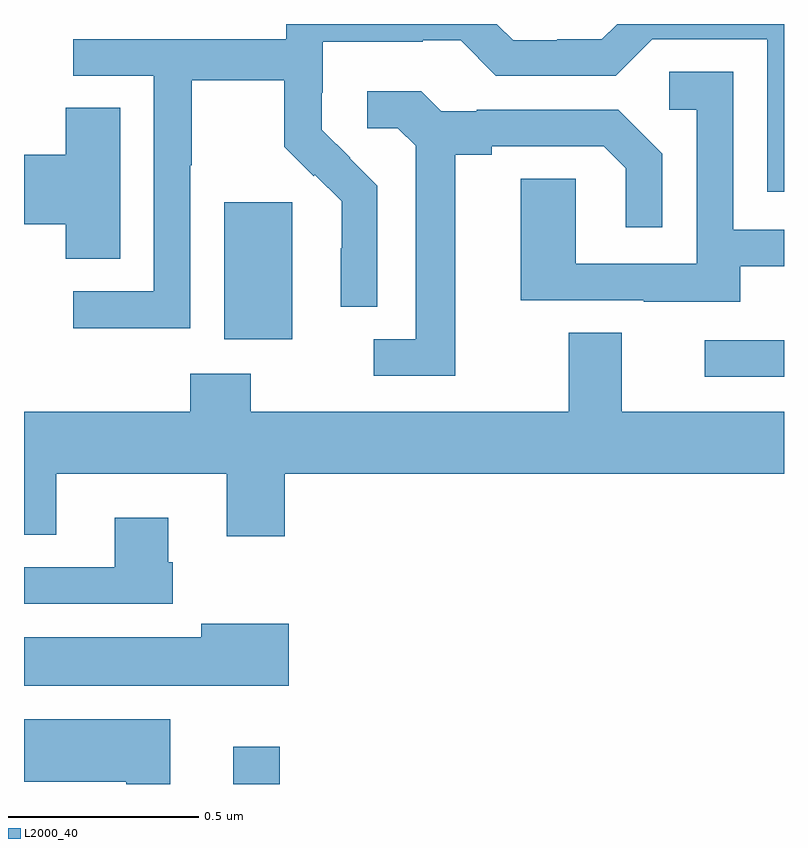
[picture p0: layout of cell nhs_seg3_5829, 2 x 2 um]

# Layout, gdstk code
import gdstk
lib = gdstk.Library(unit=1e-6, precision=1e-09)
def R(c, l, rs):  # rectangles x0, y0, x1, y1
    for r in rs: c.add(gdstk.rectangle(r[:2], r[2:], *l))
def P(c, l, *ps):  # polygons
    for p in ps: c.add(gdstk.Polygon(p, *l))
L2000_40 = (2000, 40)

nhs_seg3_5829 = lib.new_cell('nhs_seg3_5829')
R(nhs_seg3_5829, L2000_40, [(183.551,733.4,183.673,733.498), (184.791,734.472,185,734.568), (183.527,734.57,183.706,734.931)])
P(nhs_seg3_5829, L2000_40, [(183.438,735.028),(183.441,735.028),(183.441,735.252),(183.685,735.252),(183.685,735.077),(183.762,735),(183.765,735.003),(183.836,734.933),(183.836,734.81),(183.834,734.81),(183.834,734.656),(183.93,734.656),(183.93,734.974),(183.857,735.047),(183.858,735.048),(183.784,735.122),(183.784,735.219),(183.786,735.219),(183.786,735.353),(184.049,735.353),(184.049,735.357),(184.149,735.357),(184.242,735.264),(184.557,735.264),(184.653,735.36),(184.956,735.36),(184.956,734.958),(185,734.958),(185,735.4),(184.561,735.4),(184.521,735.36),(184.403,735.36),(184.403,735.357),(184.287,735.357),(184.244,735.4),(183.69,735.4),(183.69,735.36),(183.129,735.36),(183.129,735.264),(183.342,735.264),(183.342,734.697),(183.129,734.697),(183.129,734.599),(183.438,734.599)],
  [(184.885,734.763),(185,734.763),(185,734.859),(184.866,734.859),(184.866,735.275),(184.698,735.275),(184.698,735.174),(184.77,735.174),(184.77,734.769),(184.452,734.769),(184.452,734.993),(184.307,734.993),(184.307,734.673),(184.631,734.673),(184.631,734.669),(184.885,734.669)],
  [(184.135,735.056),(184.231,735.056),(184.231,735.078),(184.526,735.078),(184.583,735.021),(184.583,734.865),(184.68,734.865),(184.68,735.058),(184.564,735.174),(184.192,735.174),(184.192,735.171),(184.098,735.171),(184.046,735.223),(183.903,735.223),(183.903,735.126),(183.984,735.126),(184.031,735.079),(184.031,734.571),(183.921,734.571),(183.921,734.475),(184.135,734.475)],
  [(183.253,735.179),(183.11,735.179),(183.11,735.056),(183,735.056),(183,734.873),(183.11,734.873),(183.11,734.782),(183.253,734.782)],
  [(183.686,734.216),(185,734.216),(185,734.38),(184.573,734.38),(184.573,734.588),(184.433,734.588),(184.433,734.38),(183.597,734.38),(183.597,734.479),(183.437,734.479),(183.437,734.38),(183,734.38),(183,734.056),(183.085,734.056),(183.085,734.216),(183.533,734.216),(183.533,734.052),(183.686,734.052)],
  [(183.392,733.983),(183.379,733.983),(183.379,734.101),(183.239,734.101),(183.239,733.971),(183,733.971),(183,733.875),(183.392,733.875)],
  [(183.697,733.822),(183.467,733.822),(183.467,733.786),(183,733.786),(183,733.658),(183.697,733.658)],
  [(183.385,733.57),(183,733.57),(183,733.406),(183.269,733.406),(183.269,733.4),(183.385,733.4)])

lib.write_gds('nhs_seg3_5829.gds')
